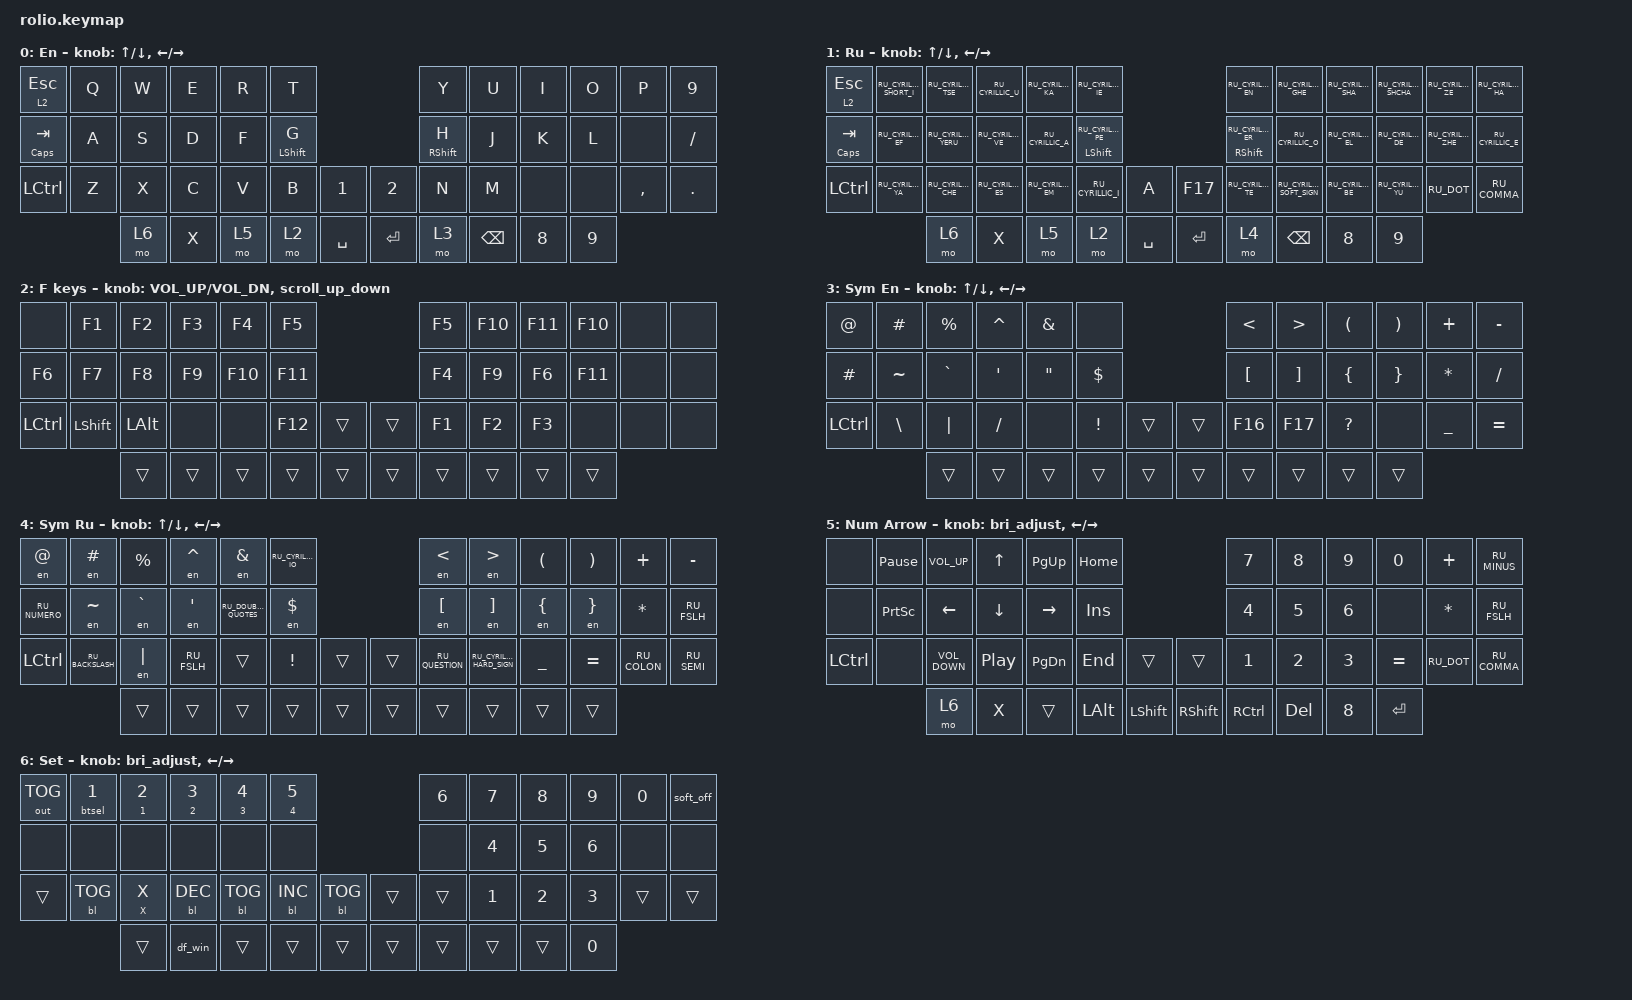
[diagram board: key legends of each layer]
#include "keys_ru.h"
#include "elpekenin/behaviors.dtsi"

#define ZMK_POINTING_DEFAULT_SCRL_VAL 100

#include <behaviors.dtsi>
#include <dt-bindings/zmk/backlight.h>
#include <dt-bindings/zmk/bt.h>
#include <dt-bindings/zmk/keys.h>
#include <dt-bindings/zmk/outputs.h>
#include <dt-bindings/zmk/pointing.h>

// Layer numbers for use by the keymap & macros

#define EN 0
#define RU 1
#define FK 2
#define SYE 3
#define SYR 4
#define NUM 5
#define SET 6

// #include "keymap_behaviors.dtsi"
// #include "keymap_macros.dtsi"

/ {
    behaviors {
        // Toggle Numbers laye

        td2: Toggle_Numpad_Windows {
            display-name = "Windows Symbols Tap Dance";
            compatible = "zmk,behavior-tap-dance";
            #binding-cells = <0>;
            tapping-term-ms = <300>;
            bindings = <&mo SYE>, <&tog NUM>;
        };

        //Backlight Brightness

        bri_adjust: Brightness_Scroller {
            label = "Scroller Brightness Adjust";
            compatible = "zmk,behavior-sensor-rotate";
            #sensor-binding-cells = <0>;
            bindings = <&bl BL_INC>, <&bl BL_DEC>;
        };

        // Encoder to Mouse Scroll

        scroll_up_down: Mouse_Scroller {
            label = "Scroller As Mouse Wheel";
            compatible = "zmk,behavior-sensor-rotate";
            #sensor-binding-cells = <0>;
            bindings = <&msc SCRL_UP>, <&msc SCRL_DOWN>;

            tap-ms = <20>;
        };

        // Hold to choose BT profile or tap for key press

        btkp: btsel_or_kp {
            display-name = "Bluetooth Select Or Key Press";
            compatible = "zmk,behavior-hold-tap";
            #binding-cells = <2>;
            flavor = "tap-preferred";
            tapping-term-ms = <200>;
            quick-tap-ms = <200>;
            require-prior-idle-ms = <125>;
            bindings = <&btsel>, <&kp>;
        };

        // Hold to select output or tap for key press

        usb_tog: usb_tog {
            display-name = "Set Output Or Key Press";
            compatible = "zmk,behavior-hold-tap";
            #binding-cells = <2>;
            flavor = "tap-preferred";
            tapping-term-ms = <200>;
            quick-tap-ms = <200>;
            require-prior-idle-ms = <125>;
            bindings = <&out>, <&kp>;
        };

        // Hold to clear BT connection or tap for key press

        btclr_kp: btclr_kp {
            display-name = "Bluetooth Profile Clear Or Key Press";
            compatible = "zmk,behavior-hold-tap";
            #binding-cells = <2>;
            flavor = "tap-preferred";
            tapping-term-ms = <2000>;
            bindings = <&btclrmacro>, <&kp>;
        };

        // Behave like "mod-tap" without the keyrepeat

        mtos: mtos {
            display-name = "Mod-Tap (No Repeat)";
            compatible = "zmk,behavior-hold-tap";
            tapping-term-ms = <135>;
            #binding-cells = <2>;
            flavor = "tap-preferred";
            bindings = <&kpss>, <&kp>;
        };

        // Shift / Capsword

        scw: scw {
            display-name = "Hold Shift / Tap Capsword";
            compatible = "zmk,behavior-hold-tap";
            #binding-cells = <2>;
            flavor = "hold-preferred";
            tapping-term-ms = <200>;
            bindings = <&kp>, <&caps_word>;
        };

        cap_sen: cap_sen {
            compatible = "zmk,behavior-hold-tap";
            label = "CAP_SEN";
            bindings = <&mo>, <&mkp>;

            #binding-cells = <2>;
            tapping-term-ms = <150>;
            hold-while-undecided;
        };

        hml: hml {
            compatible = "zmk,behavior-hold-tap";
            #binding-cells = <2>;
            flavor = "balanced";
            tapping-term-ms = <2000>;
            quick-tap-ms = <175>;
            require-prior-idle-ms = <250>;
            hold-trigger-key-positions = <6 7 8 9 10 11 18 19 20 21 22 23 30 31 32 33 34 35>;
            hold-trigger-on-release;
            bindings = <&kp>, <&kp>;
        };

        hmr: hmr {
            compatible = "zmk,behavior-hold-tap";
            #binding-cells = <2>;
            flavor = "balanced";
            tapping-term-ms = <2000>;
            quick-tap-ms = <175>;
            require-prior-idle-ms = <250>;
            hold-trigger-key-positions = <0 1 2 3 4 5 12 13 14 15 16 17 24 25 26 27 28 29>;
            hold-trigger-on-release;
            bindings = <&kp>, <&kp>;
        };

        hml_s: hml_s {
            compatible = "zmk,behavior-hold-tap";
            #binding-cells = <2>;
            flavor = "balanced";
            tapping-term-ms = <2000>;
            quick-tap-ms = <175>;
            require-prior-idle-ms = <0>;
            hold-trigger-key-positions = <6 7 8 9 10 11 18 19 20 21 22 23 30 31 32 33 34 35>;
            hold-trigger-on-release;
            bindings = <&kp>, <&kp>;
        };

        hmr_s: hmr_s {
            compatible = "zmk,behavior-hold-tap";
            #binding-cells = <2>;
            flavor = "balanced";
            tapping-term-ms = <2000>;
            quick-tap-ms = <175>;
            require-prior-idle-ms = <0>;
            hold-trigger-key-positions = <0 1 2 3 4 5 12 13 14 15 16 17 24 25 26 27 28 29>;
            hold-trigger-on-release;
            bindings = <&kp>, <&kp>;
        };
    };

    combos {
        compatible = "zmk,combos";

        cmben {
            bindings = <&layer_en>;
            key-positions = <4 5>;
            layers = <1>;
        };

        cmbru {
            bindings = <&layer_ru>;
            key-positions = <5 4>;
            layers = <0>;
        };

        LRPar {
            bindings = <&LR_Par>;
            key-positions = <7 8>;
            layers = <4 0 1 5>;
        };

        lr_brc {
            bindings = <&LR_brc>;
            key-positions = <19 20>;
            layers = <0 4>;
        };

        en_Lr_Brc {
            bindings = <&enBrct>;
            key-positions = <20 19>;
            layers = <1 5>;
        };

        lr_brs {
            bindings = <&LR_brs>;
            key-positions = <31 32>;
            layers = <0 4>;
        };

        en_lr_Brs {
            bindings = <&en_LR_brs>;
            key-positions = <31 32>;
            layers = <1 5>;
        };

        lr_uDQT {
            bindings = <&LR_ruDKT>;
            key-positions = <6 7>;
            layers = <0 4>;
        };

        lr_enDQT {
            bindings = <&LR_enDKT>;
            key-positions = <6 7>;
            layers = <1 5>;
        };

        boot_l {
            bindings = <&boot_lo>;
            key-positions = <0 11>;
            layers = <0 1>;
        };

        R_sh {
            bindings = <&kp RSHIFT>;
            key-positions = <18 19>;
            layers = <0 1>;
        };

        L_sh {
            bindings = <&kp LSHFT>;
            key-positions = <17 16>;
            layers = <0 1>;
        };

        pss {
            bindings = <&pss>;
            key-positions = <41 35>;
            layers = <0>;
        };

        unl_studio {
            bindings = <&studio_unlock>;
            key-positions = <0 5>;
        };

        Alt_Del {
            bindings = <&kp LA(DEL)>;
            key-positions = <34 35>;
        };
    };

    macros {
        // Select bluetooth profile helper  for behaviours

        btsel: btsel {
            display-name = "Bluetooth Profile Select";
            compatible = "zmk,behavior-macro-one-param";
            #binding-cells = <1>;
            bindings = <&macro_param_1to2 &bt BT_SEL MACRO_PLACEHOLDER>;
        };

        // Select bluetooth profile helper  for behaviours

        btclrmacro: btclrmacro {
            display-name = "Bluetooth Profile Clear";
            compatible = "zmk,behavior-macro-one-param";
            #binding-cells = <1>;
            bindings = <&bt BT_CLR>;
        };

        // Utilities so that Studio's use of "df" looks nice

        df_win: df_win {
            display-name = "Set Connection Default Layer to Windows";
            compatible = "zmk,behavior-macro";
            #binding-cells = <0>;
            bindings = <&mo 0>;
        };

        // Macro KP

        kpss: kpss {
            display-name = "Key Press (No Repeat)";
            compatible = "zmk,behavior-macro-one-param";
            #binding-cells = <1>;
            bindings =
                <&macro_param_1to1>,
                <&macro_tap>,
                <&kp MACRO_PLACEHOLDER>;
        };

        to_ru: to_ru {
            compatible = "zmk,behavior-macro";
            #binding-cells = <0>;
            bindings = <&sk LS(LEFT_CONTROL)>, <&macro_wait_time 300>, <&kp N2>;

            label = "TO_RU";
            wait-ms = <20>;
            tap-ms = <60>;
        };

        to_en: to_en {
            compatible = "zmk,behavior-macro";
            #binding-cells = <0>;
            bindings = <&sk LS(LCTRL)>, <&macro_wait_time 300>, <&kp N1>;

            label = "TO_EN";
            wait-ms = <20>;
            tap-ms = <60>;
        };

        to_ru_fast: to_ru_fast {
            compatible = "zmk,behavior-macro";
            #binding-cells = <0>;
            bindings = <&sk LS(LC(N2))>;
            label = "TO_RU_FAST";
            wait-ms = <20>;
            tap-ms = <60>;
        };

        to_en_fast: to_en_fast {
            compatible = "zmk,behavior-macro";
            #binding-cells = <0>;
            bindings = <&sk LS(RC(N1))>;
            label = "TO_EN_FAST";
            wait-ms = <20>;
            tap-ms = <60>;
        };

        layer_en: layer_en {
            compatible = "zmk,behavior-macro";
            #binding-cells = <0>;
            bindings = <&to_en &to 0>;
            label = "LAYER_EN";
            wait-ms = <0>;
            tap-ms = <60>;
        };

        layer_ru: layer_ru {
            compatible = "zmk,behavior-macro";
            #binding-cells = <0>;
            bindings = <&to_ru &to 1>;
            label = "LAYER_RU";
            tap-ms = <60>;
            wait-ms = <0>;
        };

        en: en {
            compatible = "zmk,behavior-macro-one-param";
            #binding-cells = <1>;
            bindings =
                <&to_en_fast>,
                <&macro_wait_time 5>,
                <&macro_press>,
                <&macro_param_1to1 &kp MACRO_PLACEHOLDER>,
                <&macro_pause_for_release>,
                <&macro_release>,
                <&macro_param_1to1 &kp MACRO_PLACEHOLDER>,
                <&macro_tap>,
                <&to_ru_fast>;

            label = "EN";
            wait-ms = <0>;
            tap-ms = <30>;
        };

        LR_Par: LR_Par {
            compatible = "zmk,behavior-macro";
            #binding-cells = <0>;
            bindings = <&kp LPAR &kp RPAR &kp LEFT_ARROW>;
            label = "LR_PAR";
        };

        LR_brc: LR_brc {
            compatible = "zmk,behavior-macro";
            #binding-cells = <0>;
            bindings = <&kp LBKT &kp RBKT &kp LEFT_ARROW>;
            label = "LR_BRC";
        };

        enBrct: enBrct {
            compatible = "zmk,behavior-macro";
            #binding-cells = <0>;
            bindings = <&to_en_fast &kp LEFT_BRACKET &kp RIGHT_BRACKET &kp LEFT_ARROW &to_ru_fast>;
            label = "ENBRCT";
        };

        LR_brs: LR_brs {
            compatible = "zmk,behavior-macro";
            #binding-cells = <0>;
            bindings = <&kp LEFT_BRACE &kp RIGHT_BRACE &kp LEFT_ARROW>;
            label = "LR_BRS";
        };

        en_LR_brs: en_LR_brs {
            compatible = "zmk,behavior-macro";
            #binding-cells = <0>;
            bindings = <&to_en_fast &kp LEFT_BRACE &kp RIGHT_BRACE &kp LEFT_ARROW &to_ru_fast>;
            label = "EN_LR_BRS";
        };

        LR_ruDKT: LR_ruDKT {
            compatible = "zmk,behavior-macro";
            #binding-cells = <0>;
            bindings = <&kp RU_DOUBLE_QUOTES &kp RU_DOUBLE_QUOTES &kp LEFT_ARROW>;
            label = "LR_RUDKT";
        };

        LR_enDKT: LR_enDKT {
            compatible = "zmk,behavior-macro";
            #binding-cells = <0>;
            bindings = <&kp DQT &kp DQT &kp LEFT_ARROW>;
            label = "LR_ENDKT";
        };

        boot_lo: bootl {
            compatible = "zmk,behavior-macro";
            #binding-cells = <0>;
            bindings = <&bootloader>;
            label = "BOOTL";
        };

        to_Fkeys: to_Fkeys {
            compatible = "zmk,behavior-macro";
            #binding-cells = <0>;
            bindings = <&tog 2>;
            label = "TO_FKEYS";
        };

        pss: pss {
            compatible = "zmk,behavior-macro";
            #binding-cells = <0>;
            bindings = <&kp LS(R) &kp I &kp Y &kp N2 &kp N1 &kp N4 &kp LS(B) &kp L &kp A &kp U &kp N6 &kp N2 &kp LS(V) &kp V>;
            label = "PSS";
        };

        st_unlock: st_unlock {
            compatible = "zmk,behavior-macro";
            #binding-cells = <0>;
            bindings = <&studio_unlock>;
            label = "ST_UNLOCK";
        };
    };

    keymap {
        compatible = "zmk,keymap";

        en {
            label = "EN";
            display-name = "En";
            sensor-bindings = <&inc_dec_kp UP DOWN &inc_dec_kp LEFT RIGHT>;
            bindings = <
&lt 2 ESC          &kp Q  &kp W  &kp E   &kp R   &kp T                                  &kp Y          &kp U           &kp I       &kp O       &kp P      &kp N9
&mt CAPSLOCK TAB   &kp A  &kp S  &kp D   &kp F   &hml LSHFT G                           &hmr RSHFT H   &kp J           &kp K       &kp L       &none      &kp SLASH
&kp LCTRL          &kp Z  &kp X  &kp C   &kp V   &kp B          &kp N1      &kp N2      &kp N          &kp M           &none       &none       &kp COMMA  &kp DOT
                          &mo 6   &kp X   &mo 5   &mo 2         &kp SPACE   &kp ENTER   &mo 3          &kp BACKSPACE   &kp N8      &kp N9
            >;
        };

        ru {
            label = "RU";
            display-name = "Ru";
            sensor-bindings = <&inc_dec_kp UP DOWN &inc_dec_kp LEFT RIGHT>;
            bindings = <
&lt 2 ESC         &kp RU_CYRILLIC_SHORT_I  &kp RU_CYRILLIC_TSE   &kp RU_CYRILLIC_U   &kp RU_CYRILLIC_KA  &kp RU_CYRILLIC_IE                                    &kp RU_CYRILLIC_EN          &kp RU_CYRILLIC_GHE        &kp RU_CYRILLIC_SHA  &kp RU_CYRILLIC_SHCHA      &kp RU_CYRILLIC_ZE   &kp RU_CYRILLIC_HA
&mt CAPSLOCK TAB  &kp RU_CYRILLIC_EF       &kp RU_CYRILLIC_YERU  &kp RU_CYRILLIC_VE  &kp RU_CYRILLIC_A   &hml LSHIFT RU_CYRILLIC_PE                            &hmr RSHIFT RU_CYRILLIC_ER  &kp RU_CYRILLIC_O          &kp RU_CYRILLIC_EL   &kp RU_CYRILLIC_DE         &kp RU_CYRILLIC_ZHE  &kp RU_CYRILLIC_E
&kp LCTRL         &kp RU_CYRILLIC_YA       &kp RU_CYRILLIC_CHE   &kp RU_CYRILLIC_ES  &kp RU_CYRILLIC_EM  &kp RU_CYRILLIC_I             &kp A       &kp F17     &kp RU_CYRILLIC_TE          &kp RU_CYRILLIC_SOFT_SIGN  &kp RU_CYRILLIC_BE   &kp RU_CYRILLIC_YU         &kp RU_DOT           &kp RU_COMMA
                                           &mo 6                 &kp X               &mo 5               &mo 2                         &kp SPACE   &kp ENTER   &mo 4                       &kp BACKSPACE              &kp N8               &kp N9
            >;
        };

        F_key {
            label = "FK";
            display-name = "F keys";
            sensor-bindings = <&inc_dec_kp C_VOL_UP C_VOL_DN &scroll_up_down>;
            bindings = <
&none      &kp F1      &kp F2    &kp F3  &kp F4   &kp F5                    &kp F5  &kp F10  &kp F11  &kp F10  &none   &none
&kp F6     &kp F7      &kp F8    &kp F9  &kp F10  &kp F11                   &kp F4  &kp F9   &kp F6   &kp F11  &none   &none
&kp LCTRL  &kp LSHIFT  &kp LALT  &none   &none    &kp F12  &trans  &trans   &kp F1  &kp F2   &kp F3   &none    &none   &none
                       &trans    &trans  &trans   &trans   &trans  &trans   &trans   &trans   &trans   &trans
            >;
        };

        sym_en {
            label = "SYE";
            display-name = "Sym En";
            sensor-bindings = <&inc_dec_kp UP DOWN &inc_dec_kp LEFT RIGHT>;
            bindings = <
&kp AT     &kp HASH   &kp PRCNT  &kp CARET      &kp AMPS  &none                       &kp LT            &kp GT             &kp LPAR      &kp RPAR  &kp PLUS   &kp MINUS
&kp HASH   &kp TILDE  &kp GRAVE  &kp SQT        &kp DQT   &kp DLLR                    &kp LEFT_BRACKET  &kp RIGHT_BRACKET  &kp LBRC      &kp RBRC  &kp ASTRK  &kp FSLH
&kp LCTRL  &kp BSLH   &kp PIPE   &kp FSLH       &none     &kp EXCL   &trans  &trans   &kp F16           &kp F17            &kp QUESTION  &none     &kp UNDER  &kp EQUAL
                      &trans     &trans         &trans    &trans     &trans  &trans   &trans   &trans   &trans   &trans
            >;
        };

        sym_ru {
            label = "SYR";
            display-name = "Sym Ru";
            sensor-bindings = <&inc_dec_kp UP DOWN &inc_dec_kp LEFT RIGHT>;
            bindings = <
&en AT         &en HASH          &kp PRCNT     &en CARET    &en AMPS              &kp RU_CYRILLIC_IO                       &en LT            &en GT                     &kp LPAR    &kp RPAR    &kp PLUS      &kp MINUS
&kp RU_NUMERO  &en TILDE         &en GRAVE     &en SQT      &kp RU_DOUBLE_QUOTES  &en DLLR                                 &en LEFT_BRACKET  &en RIGHT_BRACKET          &en LBRC    &en RBRC    &kp STAR      &kp RU_FSLH
&kp LCTRL      &kp RU_BACKSLASH  &en PIPE      &kp RU_FSLH  &trans                &kp EXCL             &trans     &trans   &kp RU_QUESTION   &kp RU_CYRILLIC_HARD_SIGN  &kp UNDER   &kp EQUAL   &kp RU_COLON  &kp RU_SEMI
                                 &trans        &trans       &trans                &trans               &trans     &trans   &trans   &trans   &trans   &trans
            >;
        };

        num_arrow {
            label = "NUM";
            display-name = "Num Arrow";
            sensor-bindings = <&bri_adjust &inc_dec_kp LEFT RIGHT>;
            bindings = <
&none      &kp PAUSE_BREAK  &kp C_VOLUME_UP    &kp UP    &kp PG_UP  &kp HOME                                &kp N7      &kp N8   &kp N9   &kp N0     &kp PLUS    &kp RU_MINUS
&none      &kp PRINTSCREEN  &kp LEFT           &kp DOWN  &kp RIGHT  &kp INS                                 &kp N4      &kp N5   &kp N6   &none      &kp STAR    &kp RU_FSLH
&kp LCTRL  &none            &kp C_VOLUME_DOWN  &kp C_PP  &kp PG_DN  &kp END     &trans         &trans       &kp N1      &kp N2   &kp N3   &kp EQUAL  &kp RU_DOT  &kp RU_COMMA
                            &mo 6              &kp X     &trans     &kp LALT    &kp LSHIFT     &kp RSHIFT   &kp RCTRL   &kp DEL  &kp N8   &kp ENTER
            >;
        };

        settings_layer {
            display-name = "Set";
            sensor-bindings = <&bri_adjust &inc_dec_kp LEFT RIGHT>;
            bindings = <
&out OUT_TOG  &btkp 0 N1    &btkp 1 N2      &btkp 2 N3   &btkp 3 N4    &btkp 4 N5                            &kp N6   &kp N7  &kp N8  &kp N9  &kp N0  &soft_off
&none         &none         &none           &none        &none         &none                                 &none    &kp N4  &kp N5  &kp N6  &none   &none
&trans        &bl BL_TOG    &btclr_kp X X   &bl BL_DEC   &bl BL_TOG    &bl BL_INC     &bl BL_TOG    &trans   &trans   &kp N1  &kp N2  &kp N3  &trans  &trans
                            &trans          &df_win      &trans        &trans         &trans        &trans   &trans   &trans  &trans  &kp N0
            >;
        };
    };
};
